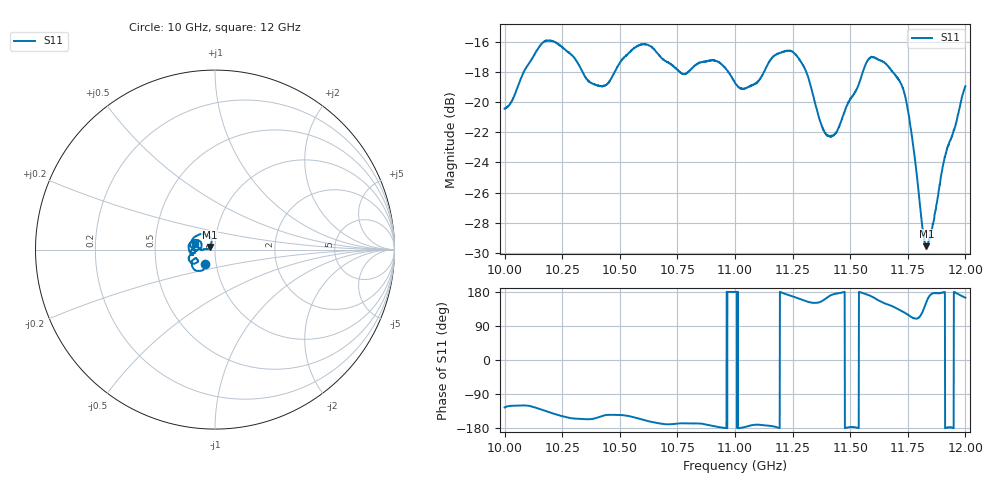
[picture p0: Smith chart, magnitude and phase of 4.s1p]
[Version] 2.0
! Rohde & Schwarz Vector Network Analyzer
! Rohde-Schwarz,ZNL20-2Port,1323001220200009,1.71.1.10-23.02.1.238
! Port Assignments:
! Nominal Port -> Actual Test Port
!  1 -> 1
! Created: GMT 2024-08-27 13:49:41
# Hz S DB R 50
[Number of Ports] 1
! freq[Hz]  S11[mag dB]  S11[ang]
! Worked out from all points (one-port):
!   2001 points, 10 GHz to 12 GHz, reference 50 ohm
!   lowest |S11| = -29.6 dB at 11.83 GHz (marker M1), VSWR 1.07, Z = 47.1 + j1.44 ohm
!   |S11| at or under -10 dB: start of sweep to end of sweep
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[Number of Frequencies] 28
[Network Data]
1e10  -20.43 -125.2
1.0162e10  -16.11 -131.3
1.025e10  -16.35 -148.3
1.0404e10  -18.88 -151.9
1.0448e10  -18.75 -144.8
1.05e10  -17.39 -145.1
1.0612e10  -16.15 -159.5
1.075e10  -17.85 -167.8
1.091e10  -17.23 -174.9
1.1e10  -18.71 179.5
1.1082e10  -18.81 -171.1
1.1168e10  -16.95 -175.3
1.125e10  -16.64 167.8
1.1307e10  -17.91 155.2
1.1372e10  -21.36 153.9
1.14e10  -22.16 165.0
1.1438e10  -22.04 175.1
1.15e10  -19.79 -176.9
1.1573e10  -17.30 172.8
1.1601e10  -17.02 165.2
1.1708e10  -18.45 134.2
1.175e10  -20.52 119.2
1.1778e10  -23.40 109.9
1.1816e10  -28.64 130.1
1.1831e10  -29.56 152.8
1.1857e10  -28.26 175.7
1.1912e10  -23.56 -179.9
1.2e10  -18.94 164.4
[End]
